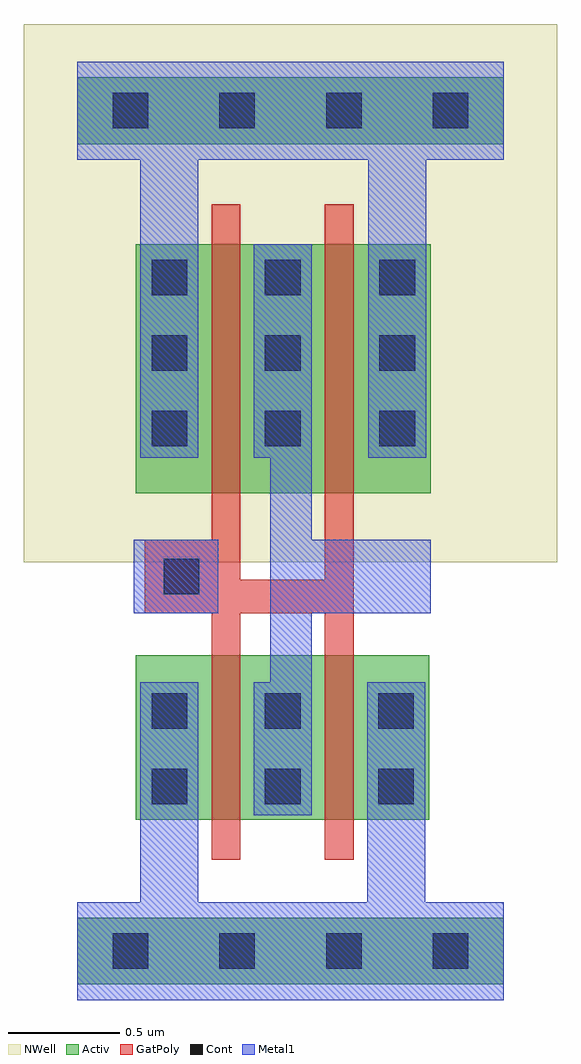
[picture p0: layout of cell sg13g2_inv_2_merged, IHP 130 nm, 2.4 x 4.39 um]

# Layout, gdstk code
import gdstk
lib = gdstk.Library(unit=1e-6, precision=1e-09)
def R(c, l, rs):  # rectangles x0, y0, x1, y1
    for r in rs: c.add(gdstk.rectangle(r[:2], r[2:], *l))
def A(c, l, x, y, w, h, nx, ny, dx, dy):  # array of equal rectangles
    R(c, l, [(x+i*dx, y+j*dy, x+i*dx+w, y+j*dy+h) for i in range(nx) for j in range(ny)])
def P(c, l, *ps):  # polygons
    for p in ps: c.add(gdstk.Polygon(p, *l))
Activ = (1, 0)
GatPoly = (5, 0)
Cont = (6, 0)
Metal1 = (8, 0)
NWell = (31, 0)

sg13g2_inv_2_merged = lib.new_cell('sg13g2_inv_2_merged')
R(sg13g2_inv_2_merged, Activ, [(0,-0.15,1.92,0.15), (0.265,0.59,1.585,1.33), (0.265,2.06,1.59,3.18), (0,3.63,1.92,3.93)])
P(sg13g2_inv_2_merged, GatPoly, [(0.605,0.41),(0.605,1.52),(0.305,1.52),(0.305,1.85),(0.605,1.85),(0.605,3.36),(0.735,3.36),(0.735,1.67),(1.115,1.67),(1.115,3.36),(1.245,3.36),(1.245,0.41),(1.115,0.41),(1.115,1.52),(0.735,1.52),(0.735,0.41)])
A(sg13g2_inv_2_merged, Cont, 0.16, -0.08, 0.16, 0.16, 4, 2, 0.48, 3.78)
A(sg13g2_inv_2_merged, Cont, 0.335, 0.66, 0.16, 0.16, 3, 2, 0.51, 0.34)
A(sg13g2_inv_2_merged, Cont, 0.335, 2.27, 0.16, 0.16, 1, 3, 0, 0.34)
A(sg13g2_inv_2_merged, Cont, 0.845, 2.27, 0.16, 0.16, 1, 3, 0, 0.34)
A(sg13g2_inv_2_merged, Cont, 1.36, 2.27, 0.16, 0.16, 1, 3, 0, 0.34)
R(sg13g2_inv_2_merged, Cont, [(0.39,1.605,0.55,1.765)])
R(sg13g2_inv_2_merged, Metal1, [(0.255,1.52,0.635,1.85)])
P(sg13g2_inv_2_merged, Metal1, [(0,-0.22),(0,0.22),(0.285,0.22),(0.285,1.21),(0.545,1.21),(0.545,0.22),(1.305,0.22),(1.305,1.21),(1.565,1.21),(1.565,0.22),(1.92,0.22),(1.92,-0.22)],
  [(0.795,0.61),(0.795,1.21),(0.87,1.21),(0.87,2.22),(0.795,2.22),(0.795,3.18),(1.055,3.18),(1.055,1.85),(1.59,1.85),(1.59,1.52),(1.055,1.52),(1.055,0.61)],
  [(0.285,2.22),(0.285,3.56),(0,3.56),(0,4),(1.92,4),(1.92,3.56),(1.57,3.56),(1.57,2.22),(1.31,2.22),(1.31,3.56),(0.545,3.56),(0.545,2.22)])
R(sg13g2_inv_2_merged, NWell, [(-0.24,1.75,2.16,4.17)])

lib.write_gds('sg13g2_inv_2_merged.gds')
